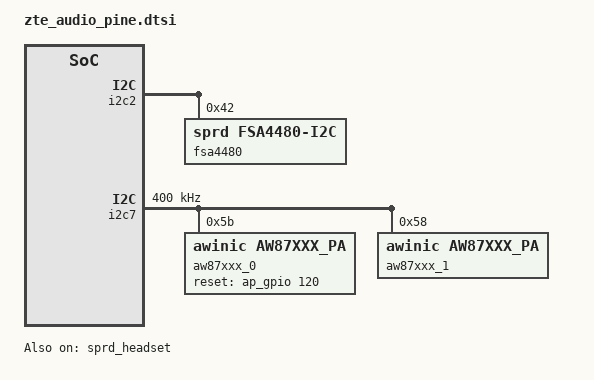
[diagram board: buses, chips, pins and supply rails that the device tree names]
&i2c2 {
	fsa4480: fsa4480@42 {
		status = "okay";
		compatible = "sprd,fsa4480-i2c";
		reg = <0x42>;
	};
};

&i2c7 {
	status = "okay";
	clock-frequency = <400000>;
	#address-cells = <1>;
	#size-cells = <0>;
	aw87xxx_0@5b {
		compatible = "awinic,aw87xxx_pa";
		reg = <0x5b>;
		reset-gpio = <&ap_gpio 120 0>;
		dev_index = <0>;
		status = "okay";
	};
	aw87xxx_1@58 {
		compatible = "awinic,aw87xxx_pa";
		reg = <0x58>;
		dev_index = <1>;
		status = "okay";
	};
};

&sprd_headset {
	status = "okay";
	extcon = <&pmic_typec>;
	typec-i2c = <1>;
	sprd,3pole-adc-threshold = <112>;
	fsa4480-i2c-handle = <&fsa4480>;
};

&sound_vbc_v4_sprd_codec {

	status = "okay";
	extral-iic-pa = <2>;

	sprd-audio-card,routing =
		"HPMIC Pin", "HP Mic Jack",
		"MIC Pin", "Mic Jack",
		"MIC2 Pin", "Aux Mic Jack",
		"MIC3 Pin", "Aux Mic2 Jack",
		"HeadPhone Jack", "HP Pin",
		"Ext Spk", "SPK Pin",
		"Ext Ear", "EAR Pin";
};


